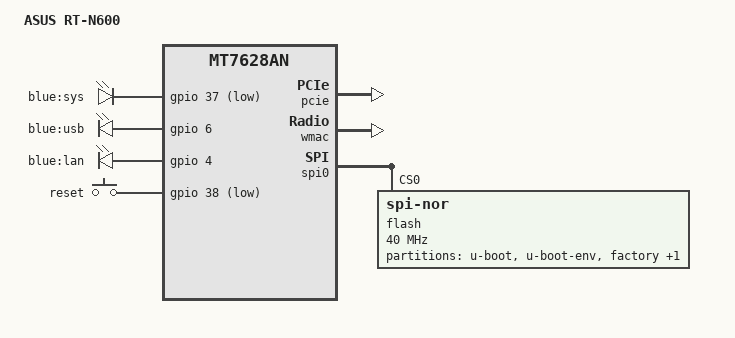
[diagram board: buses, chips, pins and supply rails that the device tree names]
// SPDX-License-Identifier: GPL-2.0-or-later OR MIT

#include "mt7628an.dtsi"

#include <dt-bindings/gpio/gpio.h>
#include <dt-bindings/input/input.h>

/ {
	compatible = "asus,rtn600", "mediatek,mt7628dan";
	model = "ASUS RT-N600";

	aliases {
		led-boot = &led_sys;
		led-failsafe = &led_sys;
		led-running = &led_sys;
		led-upgrade = &led_sys;
	};

	leds {
		compatible = "gpio-leds";

		led_sys: sys {
			label = "blue:sys";
			gpios = <&gpio 37 GPIO_ACTIVE_LOW>;
		};

		usb {
			label = "blue:usb";
			gpios = <&gpio 6 GPIO_ACTIVE_HIGH>;
			trigger-sources = <&ohci_port1>, <&ehci_port1>;
			linux,default-trigger = "usbport";
		};
		
		lan {
			label = "blue:lan";
			gpios = <&gpio 4 GPIO_ACTIVE_HIGH>;
			linux,default-trigger = "netdev";
		};



	};

	keys {
		compatible = "gpio-keys";

		reset {
			label = "reset";
			gpios = <&gpio 38 GPIO_ACTIVE_LOW>;
			linux,code = <KEY_RESTART>;
		};
	};
};


&state_default {
	gpio {
		groups = "gpio", "i2c", "i2s", "refclk", "uart1", "wdt", "wled_an";
		function = "gpio";
	};
};

&pcie {
	status = "okay";
};

&pcie0 {
	mt76@0,0 {
		reg = <0x0000 0 0 0 0>;
		mediatek,mtd-eeprom = <&factory 0x8000>;
		ieee80211-freq-limit = <5000000 6000000>;
	};
};

&wmac {
	status = "okay";

	mediatek,mtd-eeprom = <&factory 0x0>;
};

&ethernet {
	nvmem-cells = <&macaddr_factory_28>;
	nvmem-cell-names = "mac-address";
};

&spi0 {
	status = "okay";

	flash@0 {
		compatible = "jedec,spi-nor";
		reg = <0>;
		spi-max-frequency = <40000000>;

		partitions {
			compatible = "fixed-partitions";
			#address-cells = <1>;
			#size-cells = <1>;

			partition@0 {
				label = "u-boot";
				reg = <0x0 0x30000>;
				read-only;
			};

			partition@30000 {
				label = "u-boot-env";
				reg = <0x30000 0x10000>;
				read-only;
			};

			factory: partition@40000 {
				label = "factory";
				reg = <0x40000 0x10000>;
				read-only;
			};

			partition@50000 {
				compatible = "denx,uimage";
				label = "firmware";
				reg = <0x50000 0x7b0000>;
			};
		};
	};
};

&factory {
	compatible = "nvmem-cells";
	#address-cells = <1>;
	#size-cells = <1>;

	macaddr_factory_28: macaddr@28 {
		reg = <0x28 0x6>;
	};
};
